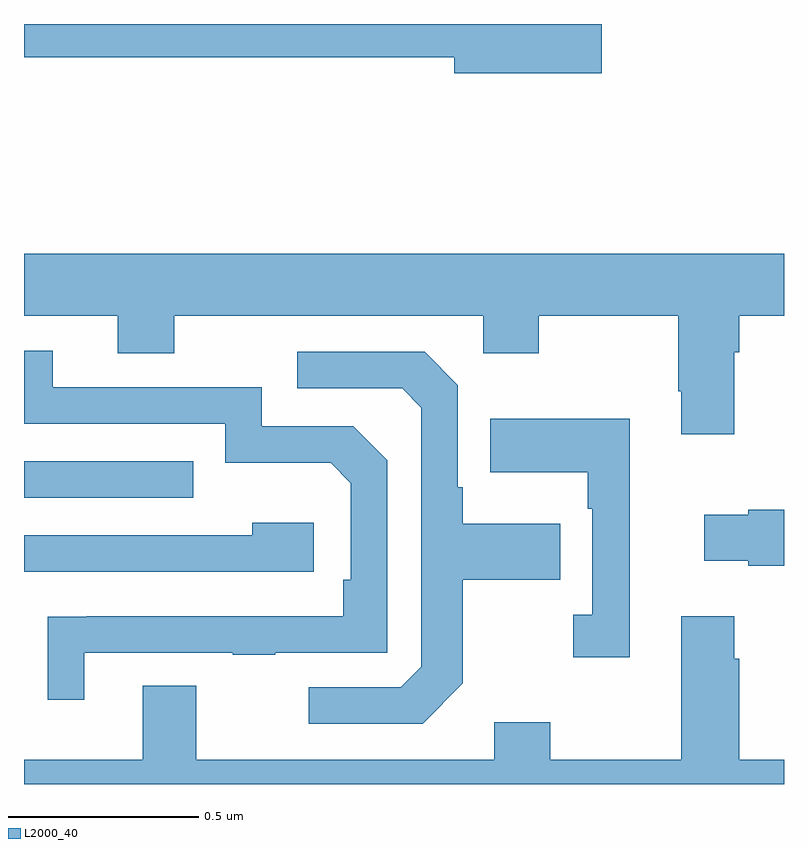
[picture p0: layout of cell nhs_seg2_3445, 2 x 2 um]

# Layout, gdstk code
import gdstk
lib = gdstk.Library(unit=1e-6, precision=1e-09)
def R(c, l, rs):  # rectangles x0, y0, x1, y1
    for r in rs: c.add(gdstk.rectangle(r[:2], r[2:], *l))
def P(c, l, *ps):  # polygons
    for p in ps: c.add(gdstk.Polygon(p, *l))
L2000_40 = (2000, 40)

nhs_seg2_3445 = lib.new_cell('nhs_seg2_3445')
R(nhs_seg2_3445, L2000_40, [(154,584.553,154.445,584.649)])
P(nhs_seg2_3445, L2000_40, [(155.521,585.8),(154,585.8),(154,585.712),(155.132,585.712),(155.132,585.67),(155.521,585.67)],
  [(155.869,584.936),(155.882,584.936),(155.882,585.032),(156,585.032),(156,585.196),(154,585.196),(154,585.032),(154.247,585.032),(154.247,584.933),(154.395,584.933),(154.395,585.032),(155.208,585.032),(155.208,584.933),(155.355,584.933),(155.355,585.032),(155.722,585.032),(155.722,584.833),(155.729,584.833),(155.729,584.721),(155.869,584.721)],
  [(154.159,584.145),(154.549,584.145),(154.549,584.14),(154.661,584.14),(154.661,584.145),(154.956,584.145),(154.956,584.652),(154.866,584.742),(154.626,584.742),(154.626,584.844),(154.075,584.844),(154.075,584.94),(154,584.94),(154,584.748),(154.53,584.748),(154.53,584.645),(154.807,584.645),(154.86,584.592),(154.86,584.338),(154.84,584.338),(154.84,584.241),(154.165,584.241),(154.165,584.24),(154.063,584.24),(154.063,584.022),(154.159,584.022)],
  [(155.155,584.065),(155.155,584.338),(155.411,584.338),(155.411,584.485),(155.155,584.485),(155.155,584.581),(155.142,584.581),(155.142,584.85),(155.055,584.937),(154.719,584.937),(154.719,584.841),(154.995,584.841),(155.046,584.79),(155.046,584.109),(154.992,584.055),(154.749,584.055),(154.749,583.959),(155.049,583.959)],
  [(155.594,584.761),(155.227,584.761),(155.227,584.621),(155.484,584.621),(155.484,584.525),(155.496,584.525),(155.496,584.246),(155.445,584.246),(155.445,584.133),(155.594,584.133)],
  [(156,584.522),(155.906,584.522),(155.906,584.509),(155.79,584.509),(155.79,584.387),(155.906,584.387),(155.906,584.375),(156,584.375)],
  [(154.762,584.488),(154.601,584.488),(154.601,584.454),(154,584.454),(154,584.358),(154.762,584.358)],
  [(156,583.864),(155.882,583.864),(155.882,584.129),(155.869,584.129),(155.869,584.242),(155.729,584.242),(155.729,583.864),(155.385,583.864),(155.385,583.963),(155.237,583.963),(155.237,583.864),(154.453,583.864),(154.453,584.059),(154.313,584.059),(154.313,583.864),(154,583.864),(154,583.8),(156,583.8)])

lib.write_gds('nhs_seg2_3445.gds')
